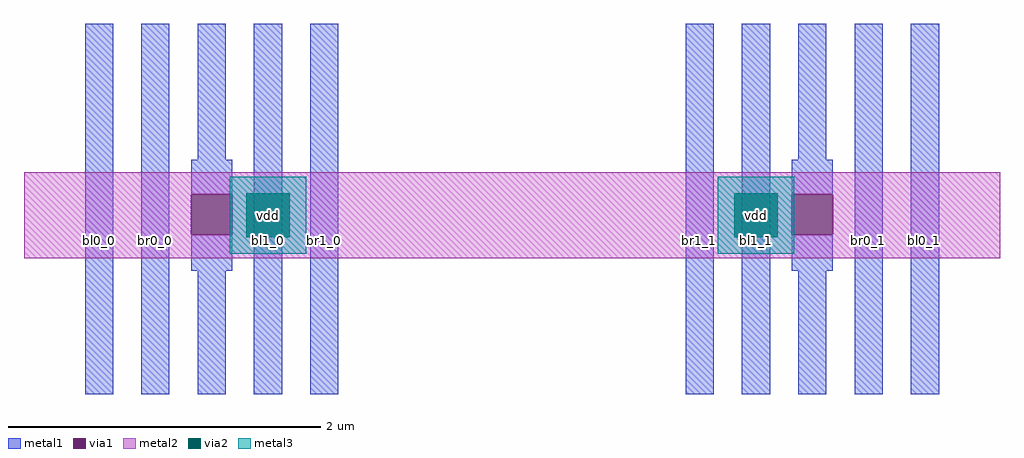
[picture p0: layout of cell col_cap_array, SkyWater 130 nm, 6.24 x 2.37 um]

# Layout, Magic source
magic
tech sky130A
magscale 1 2
<< metal1 >>
rect 78 0 114 395
rect 150 0 186 395
rect 294 0 330 395
rect 366 0 402 395
rect 846 0 882 395
rect 918 0 954 395
rect 1062 0 1098 395
rect 1134 0 1170 395
<< metal3 >>
rect 263 180 361 278
rect 887 180 985 278
use contact_9  contact_9_1
transform 1 0 279 0 1 192
box 0 0 66 74
use contact_9  contact_9_0
transform 1 0 903 0 1 192
box 0 0 66 74
use col_cap_cell_1rw_1r  col_cap_cell_1rw_1r_0
transform -1 0 1248 0 1 0
box 0 0 624 474
use col_cap_cell_1rw_1r  col_cap_cell_1rw_1r_1
transform 1 0 0 0 1 0
box 0 0 624 474
<< labels >>
rlabel metal1 s 168 197 168 197 4 br0_0
rlabel metal1 s 96 197 96 197 4 bl0_0
rlabel metal3 s 936 229 936 229 4 vdd
rlabel metal3 s 312 229 312 229 4 vdd
rlabel metal1 s 384 197 384 197 4 br1_0
rlabel metal1 s 864 197 864 197 4 br1_1
rlabel metal1 s 1080 197 1080 197 4 br0_1
rlabel metal1 s 1152 197 1152 197 4 bl0_1
rlabel metal1 s 936 197 936 197 4 bl1_1
rlabel metal1 s 312 197 312 197 4 bl1_0
<< properties >>
string FIXED_BBOX 0 0 1248 395
<< end >>

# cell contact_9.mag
magic
tech sky130A
magscale 1 2
<< metal2 >>
rect 5 65 61 74
rect 5 0 61 9
<< via2 >>
rect 5 9 61 65
<< metal3 >>
rect 0 65 66 70
rect 0 9 5 65
rect 61 9 66 65
rect 0 4 66 9
<< properties >>
string FIXED_BBOX 0 0 66 74
<< end >>

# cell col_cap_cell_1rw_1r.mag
magic
tech sky130A
magscale 1 2
<< metal1 >>
rect 78 0 114 474
rect 150 0 186 474
rect 222 300 258 474
rect 214 256 266 300
rect 214 158 266 204
rect 222 0 258 158
rect 294 0 330 474
rect 366 0 402 474
<< via1 >>
rect 214 204 266 256
<< metal2 >>
rect 0 256 624 284
rect 0 204 214 256
rect 266 204 624 256
rect 0 174 624 204
<< labels >>
rlabel metal1 s 78 196 114 244 4 bl0
rlabel metal1 s 294 196 330 244 4 bl1
rlabel metal1 s 150 196 186 244 4 br0
rlabel metal1 s 366 196 402 244 4 br1
rlabel metal2 s 311 214 342 248 4 vdd
rlabel metal1 s 168 316 168 316 4 br0
rlabel metal1 s 384 316 384 316 4 br1
rlabel metal1 s 312 316 312 316 4 bl1
rlabel metal2 s 312 229 312 229 4 vdd
rlabel metal1 s 96 316 96 316 4 bl0
<< properties >>
string FIXED_BBOX 0 0 624 474
<< end >>
